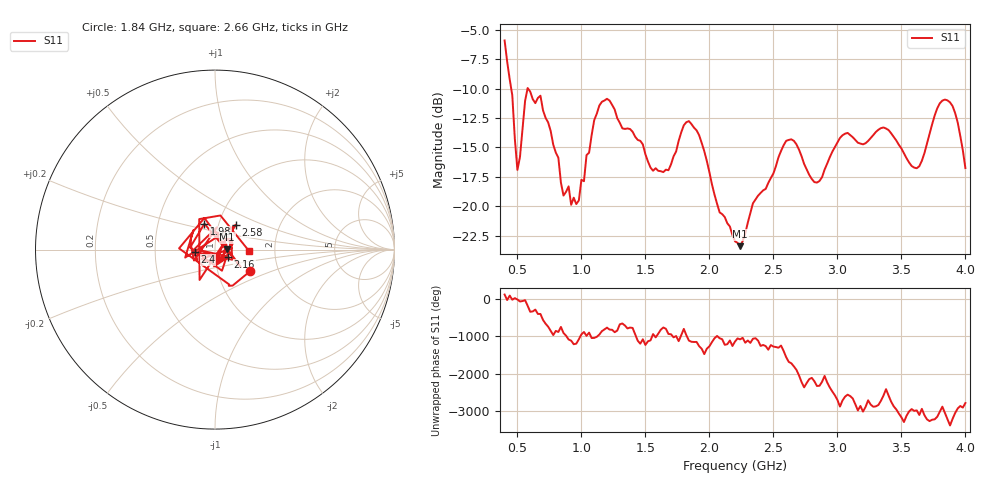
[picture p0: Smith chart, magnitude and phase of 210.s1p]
!Created with skrf (http://scikit-rf.org).
# Hz S RI R 50.0
!freq ReS11 ImS11
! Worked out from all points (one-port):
!   181 points, 400 MHz to 4 GHz, reference 50 ohm
!   lowest |S11| = -23.4 dB at 2.24 GHz (marker M1), VSWR 1.15, Z = 57.3 + j0.158 ohm
!   |S11| at or under -10 dB: 451.5 MHz to 579.2 MHz (127.6 MHz wide, 24.8 % of centre); 583 MHz to end of sweep
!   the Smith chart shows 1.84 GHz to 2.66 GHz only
!   S11 on the Smith chart (normalised r, x): 1.84 GHz: 1.43, -0.36; 1.98 GHz: 0.85, +0.25; 2.16 GHz: 1.15, -0.09; 2.4 GHz: 0.80, -0.02; 2.58 GHz: 1.21, +0.35; 2.66 GHz: 1.47, -0.02
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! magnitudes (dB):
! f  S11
! 400 MHz  -5.9
! 460 MHz  -10.6
! 500 MHz  -16.9
! 580 MHz  -10.0
! 680 MHz  -10.6
! 860 MHz  -19.1
! 980 MHz  -19.5
! 1.16 GHz  -11.1
! 1.3 GHz  -12.9
! 1.56 GHz  -17.0
! 1.68 GHz  -16.9
! 1.76 GHz  -14.4
! 1.84 GHz  -12.8
! 1.98 GHz  -16.2
! 2.16 GHz  -21.7
! 2.2 GHz  -23.0
! 2.24 GHz  -23.4
! 2.4 GHz  -18.9
! 2.58 GHz  -14.8
! 2.66 GHz  -14.4
! 2.84 GHz  -18.0
! 3.1 GHz  -13.9
! 3.38 GHz  -13.4
! 3.56 GHz  -16.3
! 3.64 GHz  -16.6
! 3.84 GHz  -10.9
! 3.92 GHz  -12.1
! 4 GHz  -16.8
